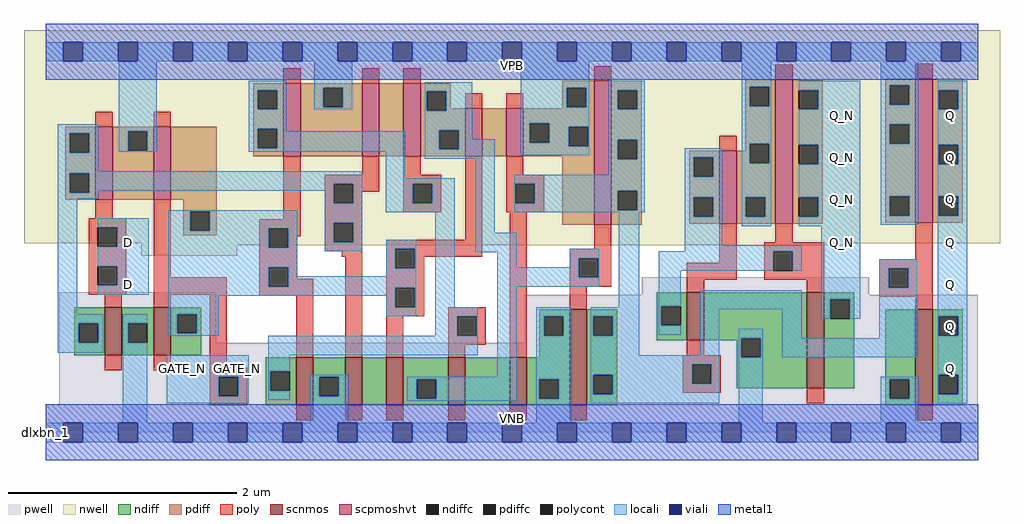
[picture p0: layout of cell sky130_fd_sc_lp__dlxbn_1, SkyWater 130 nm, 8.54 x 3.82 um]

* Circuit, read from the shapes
.subckt sky130_fd_sc_lp__dlxbn_1 D GATE_N VGND VNB VPB VPWR Q Q_N
XM1 VGND D n1 VNB sky130_fd_pr__nfet_01v8 w=0.42 l=0.15
XM2 n2 GATE_N VGND VNB sky130_fd_pr__nfet_01v8 w=0.42 l=0.15
XM3 VGND n2 n3 VNB sky130_fd_pr__nfet_01v8 w=0.42 l=0.15
XM4 n4 n1 VGND VNB sky130_fd_pr__nfet_01v8 w=0.42 l=0.15
XM5 n5 n2 n4 VNB sky130_fd_pr__nfet_01v8 w=0.42 l=0.15
XM6 n6 n3 n5 VNB sky130_fd_pr__nfet_01v8 w=0.42 l=0.15
XM7 VGND n7 n6 VNB sky130_fd_pr__nfet_01v8 w=0.42 l=0.15
XM8 n7 n5 VGND VNB sky130_fd_pr__nfet_01v8 w=0.84 l=0.15
XM9 VGND n7 n8 VNB sky130_fd_pr__nfet_01v8 w=0.42 l=0.15
XM10 Q_N n8 VGND VNB sky130_fd_pr__nfet_01v8 w=0.84 l=0.15
XM11 Q n7 VGND VNB sky130_fd_pr__nfet_01v8 w=0.84 l=0.15
XM12 VPWR D n1 VPB sky130_fd_pr__pfet_01v8_hvt w=0.64 l=0.15
XM13 n2 GATE_N VPWR VPB sky130_fd_pr__pfet_01v8_hvt w=0.64 l=0.15
XM14 VPWR n2 n3 VPB sky130_fd_pr__pfet_01v8_hvt w=0.64 l=0.15
XM15 n9 n1 VPWR VPB sky130_fd_pr__pfet_01v8_hvt w=0.64 l=0.15
XM16 n5 n3 n9 VPB sky130_fd_pr__pfet_01v8_hvt w=0.64 l=0.15
XM17 n10 n2 n5 VPB sky130_fd_pr__pfet_01v8_hvt w=0.42 l=0.15
XM18 VPWR n7 n10 VPB sky130_fd_pr__pfet_01v8_hvt w=0.42 l=0.15
XM19 n7 n5 VPWR VPB sky130_fd_pr__pfet_01v8_hvt w=1.26 l=0.15
XM20 VPWR n7 n8 VPB sky130_fd_pr__pfet_01v8_hvt w=0.64 l=0.15
XM21 Q_N n8 VPWR VPB sky130_fd_pr__pfet_01v8_hvt w=1.26 l=0.15
XM22 Q n7 VPWR VPB sky130_fd_pr__pfet_01v8_hvt w=1.26 l=0.15
.ends

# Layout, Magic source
magic
tech sky130A
magscale 1 2
<< nwell >>
rect -38 331 1670 704
rect 167 327 1396 331
rect 167 309 335 327
<< pwell >>
rect 24 157 298 245
rect 1043 241 1441 271
rect 838 157 1631 241
rect 24 49 1631 157
rect 0 0 1632 49
<< scnmos >>
rect 103 135 133 219
rect 189 135 219 219
rect 438 47 468 131
rect 524 47 554 131
rect 596 47 626 131
rect 704 47 734 131
rect 812 47 842 131
rect 917 47 947 215
rect 1122 161 1152 245
rect 1332 77 1362 245
rect 1522 47 1552 215
<< scpmoshvt >>
rect 87 407 117 535
rect 189 407 219 535
rect 416 483 446 611
rect 554 483 584 611
rect 626 483 656 611
rect 734 483 764 567
rect 806 483 836 567
rect 960 363 990 615
rect 1179 365 1209 493
rect 1277 365 1307 617
rect 1522 367 1552 619
<< ndiff >>
rect 50 191 103 219
rect 50 157 58 191
rect 92 157 103 191
rect 50 135 103 157
rect 133 191 189 219
rect 133 157 144 191
rect 178 157 189 191
rect 133 135 189 157
rect 219 207 272 219
rect 219 173 230 207
rect 264 173 272 207
rect 219 135 272 173
rect 1069 221 1122 245
rect 864 203 917 215
rect 864 169 872 203
rect 906 169 917 203
rect 864 131 917 169
rect 385 107 438 131
rect 385 73 393 107
rect 427 73 438 107
rect 385 47 438 73
rect 468 97 524 131
rect 468 63 479 97
rect 513 63 524 97
rect 468 47 524 63
rect 554 47 596 131
rect 626 93 704 131
rect 626 59 649 93
rect 683 59 704 93
rect 626 47 704 59
rect 734 47 812 131
rect 842 93 917 131
rect 842 59 864 93
rect 898 59 917 93
rect 842 47 917 59
rect 947 203 1000 215
rect 947 169 958 203
rect 992 169 1000 203
rect 947 101 1000 169
rect 1069 187 1077 221
rect 1111 187 1122 221
rect 1069 161 1122 187
rect 1152 165 1332 245
rect 1152 161 1217 165
rect 947 67 958 101
rect 992 67 1000 101
rect 1209 131 1217 161
rect 1251 131 1332 165
rect 1209 77 1332 131
rect 1362 233 1415 245
rect 1362 199 1373 233
rect 1407 199 1415 233
rect 1362 77 1415 199
rect 1469 93 1522 215
rect 947 47 1000 67
rect 1469 59 1477 93
rect 1511 59 1522 93
rect 1469 47 1522 59
rect 1552 203 1605 215
rect 1552 169 1563 203
rect 1597 169 1605 203
rect 1552 101 1605 169
rect 1552 67 1563 101
rect 1597 67 1605 101
rect 1552 47 1605 67
<< pdiff >>
rect 363 599 416 611
rect 363 565 371 599
rect 405 565 416 599
rect 34 523 87 535
rect 34 489 42 523
rect 76 489 87 523
rect 34 453 87 489
rect 34 419 42 453
rect 76 419 87 453
rect 34 407 87 419
rect 117 527 189 535
rect 117 493 144 527
rect 178 493 189 527
rect 117 407 189 493
rect 219 407 299 535
rect 363 531 416 565
rect 363 497 371 531
rect 405 497 416 531
rect 363 483 416 497
rect 446 603 554 611
rect 446 569 486 603
rect 520 569 554 603
rect 446 483 554 569
rect 584 483 626 611
rect 656 597 709 611
rect 656 563 667 597
rect 701 567 709 597
rect 904 603 960 615
rect 904 569 912 603
rect 946 569 960 603
rect 904 567 960 569
rect 701 563 734 567
rect 656 529 734 563
rect 656 495 689 529
rect 723 495 734 529
rect 656 483 734 495
rect 764 483 806 567
rect 836 541 960 567
rect 836 507 847 541
rect 881 535 960 541
rect 881 507 915 535
rect 836 501 915 507
rect 949 501 960 535
rect 836 483 960 501
rect 241 387 299 407
rect 241 353 253 387
rect 287 353 299 387
rect 241 345 299 353
rect 904 363 960 483
rect 990 599 1043 615
rect 990 565 1001 599
rect 1035 565 1043 599
rect 990 512 1043 565
rect 1224 605 1277 617
rect 1224 571 1232 605
rect 1266 571 1277 605
rect 990 478 1001 512
rect 1035 478 1043 512
rect 1224 505 1277 571
rect 1224 493 1232 505
rect 990 423 1043 478
rect 990 389 1001 423
rect 1035 389 1043 423
rect 990 363 1043 389
rect 1126 481 1179 493
rect 1126 447 1134 481
rect 1168 447 1179 481
rect 1126 411 1179 447
rect 1126 377 1134 411
rect 1168 377 1179 411
rect 1126 365 1179 377
rect 1209 471 1232 493
rect 1266 471 1277 505
rect 1209 411 1277 471
rect 1209 377 1225 411
rect 1259 377 1277 411
rect 1209 365 1277 377
rect 1307 599 1360 617
rect 1307 565 1318 599
rect 1352 565 1360 599
rect 1307 503 1360 565
rect 1307 469 1318 503
rect 1352 469 1360 503
rect 1307 411 1360 469
rect 1307 377 1318 411
rect 1352 377 1360 411
rect 1307 365 1360 377
rect 1469 607 1522 619
rect 1469 573 1477 607
rect 1511 573 1522 607
rect 1469 539 1522 573
rect 1469 505 1477 539
rect 1511 505 1522 539
rect 1469 413 1522 505
rect 1469 379 1477 413
rect 1511 379 1522 413
rect 1469 367 1522 379
rect 1552 599 1605 619
rect 1552 565 1563 599
rect 1597 565 1605 599
rect 1552 503 1605 565
rect 1552 469 1563 503
rect 1597 469 1605 503
rect 1552 413 1605 469
rect 1552 379 1563 413
rect 1597 379 1605 413
rect 1552 367 1605 379
<< ndiffc >>
rect 58 157 92 191
rect 144 157 178 191
rect 230 173 264 207
rect 872 169 906 203
rect 393 73 427 107
rect 479 63 513 97
rect 649 59 683 93
rect 864 59 898 93
rect 958 169 992 203
rect 1077 187 1111 221
rect 958 67 992 101
rect 1217 131 1251 165
rect 1373 199 1407 233
rect 1477 59 1511 93
rect 1563 169 1597 203
rect 1563 67 1597 101
<< pdiffc >>
rect 371 565 405 599
rect 42 489 76 523
rect 42 419 76 453
rect 144 493 178 527
rect 371 497 405 531
rect 486 569 520 603
rect 667 563 701 597
rect 912 569 946 603
rect 689 495 723 529
rect 847 507 881 541
rect 915 501 949 535
rect 253 353 287 387
rect 1001 565 1035 599
rect 1232 571 1266 605
rect 1001 478 1035 512
rect 1001 389 1035 423
rect 1134 447 1168 481
rect 1134 377 1168 411
rect 1232 471 1266 505
rect 1225 377 1259 411
rect 1318 565 1352 599
rect 1318 469 1352 503
rect 1318 377 1352 411
rect 1477 573 1511 607
rect 1477 505 1511 539
rect 1477 379 1511 413
rect 1563 565 1597 599
rect 1563 469 1597 503
rect 1563 379 1597 413
<< poly >>
rect 416 611 446 637
rect 554 611 584 637
rect 626 611 656 637
rect 960 615 990 641
rect 1277 617 1307 643
rect 1522 619 1552 645
rect 87 535 117 561
rect 189 535 219 561
rect 734 567 764 593
rect 806 567 836 593
rect 87 375 117 407
rect 75 359 141 375
rect 75 325 91 359
rect 125 325 141 359
rect 75 291 141 325
rect 75 257 91 291
rect 125 257 141 291
rect 75 241 141 257
rect 189 271 219 407
rect 416 373 446 483
rect 554 451 584 483
rect 374 357 446 373
rect 374 323 390 357
rect 424 343 446 357
rect 488 435 584 451
rect 488 401 504 435
rect 538 421 584 435
rect 626 451 656 483
rect 626 435 692 451
rect 538 401 554 421
rect 488 367 554 401
rect 626 401 642 435
rect 676 401 692 435
rect 626 385 692 401
rect 424 323 440 343
rect 374 289 440 323
rect 488 333 504 367
rect 538 333 554 367
rect 734 337 764 483
rect 806 451 836 483
rect 806 435 872 451
rect 806 401 822 435
rect 856 401 872 435
rect 806 385 872 401
rect 488 317 554 333
rect 518 307 554 317
rect 189 241 317 271
rect 103 219 133 241
rect 189 219 219 241
rect 103 109 133 135
rect 189 109 219 135
rect 287 113 317 241
rect 374 255 390 289
rect 424 269 440 289
rect 424 255 468 269
rect 374 239 468 255
rect 438 131 468 239
rect 524 131 554 307
rect 596 321 764 337
rect 596 287 612 321
rect 646 307 764 321
rect 646 287 662 307
rect 596 253 662 287
rect 596 219 612 253
rect 646 219 662 253
rect 596 203 662 219
rect 704 203 770 219
rect 596 131 626 203
rect 704 169 720 203
rect 754 169 770 203
rect 704 153 770 169
rect 704 131 734 153
rect 812 131 842 385
rect 1179 493 1209 519
rect 960 321 990 363
rect 917 305 990 321
rect 917 271 933 305
rect 967 271 990 305
rect 1179 297 1209 365
rect 1277 333 1307 365
rect 917 255 990 271
rect 1122 267 1209 297
rect 1257 317 1362 333
rect 1257 283 1273 317
rect 1307 283 1362 317
rect 1522 303 1552 367
rect 1257 267 1362 283
rect 917 215 947 255
rect 1122 245 1152 267
rect 1332 245 1362 267
rect 1459 287 1552 303
rect 1459 253 1475 287
rect 1509 253 1552 287
rect 287 97 353 113
rect 287 63 303 97
rect 337 63 353 97
rect 287 47 353 63
rect 1122 135 1152 161
rect 1115 119 1181 135
rect 1115 85 1131 119
rect 1165 85 1181 119
rect 1115 69 1181 85
rect 1459 237 1552 253
rect 1522 215 1552 237
rect 1332 51 1362 77
rect 438 21 468 47
rect 524 21 554 47
rect 596 21 626 47
rect 704 21 734 47
rect 812 21 842 47
rect 917 21 947 47
rect 1522 21 1552 47
<< polycont >>
rect 91 325 125 359
rect 91 257 125 291
rect 390 323 424 357
rect 504 401 538 435
rect 642 401 676 435
rect 504 333 538 367
rect 822 401 856 435
rect 390 255 424 289
rect 612 287 646 321
rect 612 219 646 253
rect 720 169 754 203
rect 933 271 967 305
rect 1273 283 1307 317
rect 1475 253 1509 287
rect 303 63 337 97
rect 1131 85 1165 119
<< locali >>
rect 0 649 31 683
rect 65 649 127 683
rect 161 649 223 683
rect 257 649 319 683
rect 353 649 415 683
rect 449 649 511 683
rect 545 649 607 683
rect 641 649 703 683
rect 737 649 799 683
rect 833 649 895 683
rect 929 649 991 683
rect 1025 649 1087 683
rect 1121 649 1183 683
rect 1217 649 1279 683
rect 1313 649 1375 683
rect 1409 649 1471 683
rect 1505 649 1567 683
rect 1601 649 1632 683
rect 21 523 92 539
rect 21 489 42 523
rect 76 489 92 523
rect 128 527 194 649
rect 128 493 144 527
rect 178 493 194 527
rect 128 491 194 493
rect 355 599 421 615
rect 355 565 371 599
rect 405 565 421 599
rect 470 603 536 649
rect 470 569 486 603
rect 520 569 536 603
rect 470 565 536 569
rect 663 597 746 613
rect 355 531 421 565
rect 355 497 371 531
rect 405 527 421 531
rect 663 563 667 597
rect 701 563 746 597
rect 663 529 746 563
rect 405 497 629 527
rect 355 491 629 497
rect 21 457 92 489
rect 21 453 554 457
rect 21 419 42 453
rect 76 435 554 453
rect 76 423 504 435
rect 76 419 92 423
rect 21 409 92 419
rect 21 207 55 409
rect 488 401 504 423
rect 538 401 554 435
rect 214 387 440 389
rect 91 359 180 375
rect 125 325 180 359
rect 91 291 180 325
rect 125 257 180 291
rect 91 241 180 257
rect 214 353 253 387
rect 287 357 440 387
rect 287 353 390 357
rect 214 323 390 353
rect 424 323 440 357
rect 214 289 440 323
rect 488 367 554 401
rect 595 445 629 491
rect 663 495 689 529
rect 723 513 746 529
rect 831 603 951 649
rect 831 569 912 603
rect 946 569 951 603
rect 831 541 951 569
rect 723 495 786 513
rect 663 479 786 495
rect 831 507 847 541
rect 881 535 951 541
rect 881 507 915 535
rect 831 501 915 507
rect 949 501 951 535
rect 831 485 951 501
rect 985 599 1048 615
rect 985 565 1001 599
rect 1035 565 1048 599
rect 985 512 1048 565
rect 595 435 716 445
rect 595 401 642 435
rect 676 401 716 435
rect 595 385 716 401
rect 488 333 504 367
rect 538 333 554 367
rect 488 317 554 333
rect 596 321 648 337
rect 214 255 390 289
rect 424 273 440 289
rect 596 287 612 321
rect 646 287 648 321
rect 596 273 648 287
rect 424 255 648 273
rect 214 253 648 255
rect 214 239 612 253
rect 214 207 303 239
rect 21 191 101 207
rect 21 157 58 191
rect 92 157 101 191
rect 21 139 101 157
rect 135 191 178 207
rect 135 157 144 191
rect 214 173 230 207
rect 264 173 303 207
rect 596 219 612 239
rect 646 219 648 253
rect 596 203 648 219
rect 682 219 716 385
rect 752 349 786 479
rect 985 478 1001 512
rect 1035 478 1048 512
rect 1218 605 1270 649
rect 1218 571 1232 605
rect 1266 571 1270 605
rect 1218 505 1270 571
rect 985 451 1048 478
rect 820 435 1048 451
rect 820 401 822 435
rect 856 423 1048 435
rect 856 401 1001 423
rect 820 389 1001 401
rect 1035 389 1048 423
rect 820 385 1048 389
rect 1118 481 1184 497
rect 1118 447 1134 481
rect 1168 447 1184 481
rect 1118 411 1184 447
rect 752 315 824 349
rect 790 289 824 315
rect 917 305 969 321
rect 917 289 933 305
rect 790 271 933 289
rect 967 271 969 305
rect 790 255 969 271
rect 682 203 756 219
rect 214 169 303 173
rect 682 169 720 203
rect 754 169 756 203
rect 135 17 178 157
rect 389 135 756 169
rect 212 97 355 135
rect 212 63 303 97
rect 337 63 355 97
rect 212 51 355 63
rect 389 107 427 135
rect 389 73 393 107
rect 389 57 427 73
rect 463 97 529 101
rect 790 97 824 255
rect 1003 219 1039 385
rect 1118 377 1134 411
rect 1168 377 1184 411
rect 1118 327 1184 377
rect 1218 471 1232 505
rect 1266 471 1270 505
rect 1218 411 1270 471
rect 1218 377 1225 411
rect 1259 377 1270 411
rect 1218 361 1270 377
rect 1318 599 1425 615
rect 1352 565 1425 599
rect 1318 503 1425 565
rect 1352 469 1425 503
rect 1318 411 1425 469
rect 1352 377 1425 411
rect 1318 361 1425 377
rect 1461 607 1527 649
rect 1461 573 1477 607
rect 1511 573 1527 607
rect 1461 539 1527 573
rect 1461 505 1477 539
rect 1511 505 1527 539
rect 1461 413 1527 505
rect 1461 379 1477 413
rect 1511 379 1527 413
rect 1461 363 1527 379
rect 1561 599 1613 615
rect 1561 565 1563 599
rect 1597 565 1613 599
rect 1561 503 1613 565
rect 1561 469 1563 503
rect 1597 469 1613 503
rect 1561 413 1613 469
rect 1561 379 1563 413
rect 1597 379 1613 413
rect 1118 317 1323 327
rect 463 63 479 97
rect 513 63 529 97
rect 463 17 529 63
rect 633 93 824 97
rect 633 59 649 93
rect 683 59 824 93
rect 633 55 824 59
rect 858 203 920 219
rect 858 169 872 203
rect 906 169 920 203
rect 858 93 920 169
rect 858 59 864 93
rect 898 59 920 93
rect 858 17 920 59
rect 954 203 1039 219
rect 954 169 958 203
rect 992 169 1039 203
rect 1073 283 1273 317
rect 1307 283 1323 317
rect 1073 221 1111 283
rect 1073 187 1077 221
rect 1073 171 1111 187
rect 1145 215 1323 249
rect 954 135 1039 169
rect 1145 135 1179 215
rect 954 119 1179 135
rect 954 101 1131 119
rect 954 67 958 101
rect 992 85 1131 101
rect 1165 85 1179 119
rect 992 67 1179 85
rect 954 51 1179 67
rect 1213 165 1255 181
rect 1213 131 1217 165
rect 1251 131 1255 165
rect 1289 165 1323 215
rect 1357 233 1425 361
rect 1357 199 1373 233
rect 1407 199 1425 233
rect 1459 287 1525 303
rect 1459 253 1475 287
rect 1509 253 1525 287
rect 1459 165 1525 253
rect 1289 131 1525 165
rect 1561 203 1613 379
rect 1561 169 1563 203
rect 1597 169 1613 203
rect 1213 17 1255 131
rect 1561 101 1613 169
rect 1461 93 1527 97
rect 1461 59 1477 93
rect 1511 59 1527 93
rect 1461 17 1527 59
rect 1561 67 1563 101
rect 1597 67 1613 101
rect 1561 51 1613 67
rect 0 -17 31 17
rect 65 -17 127 17
rect 161 -17 223 17
rect 257 -17 319 17
rect 353 -17 415 17
rect 449 -17 511 17
rect 545 -17 607 17
rect 641 -17 703 17
rect 737 -17 799 17
rect 833 -17 895 17
rect 929 -17 991 17
rect 1025 -17 1087 17
rect 1121 -17 1183 17
rect 1217 -17 1279 17
rect 1313 -17 1375 17
rect 1409 -17 1471 17
rect 1505 -17 1567 17
rect 1601 -17 1632 17
<< viali >>
rect 31 649 65 683
rect 127 649 161 683
rect 223 649 257 683
rect 319 649 353 683
rect 415 649 449 683
rect 511 649 545 683
rect 607 649 641 683
rect 703 649 737 683
rect 799 649 833 683
rect 895 649 929 683
rect 991 649 1025 683
rect 1087 649 1121 683
rect 1183 649 1217 683
rect 1279 649 1313 683
rect 1375 649 1409 683
rect 1471 649 1505 683
rect 1567 649 1601 683
rect 31 -17 65 17
rect 127 -17 161 17
rect 223 -17 257 17
rect 319 -17 353 17
rect 415 -17 449 17
rect 511 -17 545 17
rect 607 -17 641 17
rect 703 -17 737 17
rect 799 -17 833 17
rect 895 -17 929 17
rect 991 -17 1025 17
rect 1087 -17 1121 17
rect 1183 -17 1217 17
rect 1279 -17 1313 17
rect 1375 -17 1409 17
rect 1471 -17 1505 17
rect 1567 -17 1601 17
<< metal1 >>
rect 0 683 1632 715
rect 0 649 31 683
rect 65 649 127 683
rect 161 649 223 683
rect 257 649 319 683
rect 353 649 415 683
rect 449 649 511 683
rect 545 649 607 683
rect 641 649 703 683
rect 737 649 799 683
rect 833 649 895 683
rect 929 649 991 683
rect 1025 649 1087 683
rect 1121 649 1183 683
rect 1217 649 1279 683
rect 1313 649 1375 683
rect 1409 649 1471 683
rect 1505 649 1567 683
rect 1601 649 1632 683
rect 0 617 1632 649
rect 0 17 1632 49
rect 0 -17 31 17
rect 65 -17 127 17
rect 161 -17 223 17
rect 257 -17 319 17
rect 353 -17 415 17
rect 449 -17 511 17
rect 545 -17 607 17
rect 641 -17 703 17
rect 737 -17 799 17
rect 833 -17 895 17
rect 929 -17 991 17
rect 1025 -17 1087 17
rect 1121 -17 1183 17
rect 1217 -17 1279 17
rect 1313 -17 1375 17
rect 1409 -17 1471 17
rect 1505 -17 1567 17
rect 1601 -17 1632 17
rect 0 -49 1632 -17
<< labels >>
flabel pwell s 0 0 1632 49 0 FreeSans 200 0 0 0 VNB
port 4 nsew ground bidirectional
flabel nwell s 0 617 1632 666 0 FreeSans 200 0 0 0 VPB
port 5 nsew power bidirectional
rlabel comment s 0 0 0 0 4 dlxbn_1
flabel metal1 s 0 617 1632 666 0 FreeSans 340 0 0 0 VPWR
port 6 nsew power bidirectional
flabel metal1 s 0 0 1632 49 0 FreeSans 340 0 0 0 VGND
port 3 nsew ground bidirectional
flabel locali s 127 242 161 276 0 FreeSans 340 0 0 0 D
port 1 nsew signal input
flabel locali s 127 316 161 350 0 FreeSans 340 0 0 0 D
port 1 nsew signal input
flabel locali s 223 94 257 128 0 FreeSans 340 0 0 0 GATE_N
port 2 nsew clock input
flabel locali s 319 94 353 128 0 FreeSans 340 0 0 0 GATE_N
port 2 nsew clock input
flabel locali s 1567 94 1601 128 0 FreeSans 340 0 0 0 Q
port 7 nsew signal output
flabel locali s 1567 168 1601 202 0 FreeSans 340 0 0 0 Q
port 7 nsew signal output
flabel locali s 1567 242 1601 276 0 FreeSans 340 0 0 0 Q
port 7 nsew signal output
flabel locali s 1567 316 1601 350 0 FreeSans 340 0 0 0 Q
port 7 nsew signal output
flabel locali s 1567 390 1601 424 0 FreeSans 340 0 0 0 Q
port 7 nsew signal output
flabel locali s 1567 464 1601 498 0 FreeSans 340 0 0 0 Q
port 7 nsew signal output
flabel locali s 1567 538 1601 572 0 FreeSans 340 0 0 0 Q
port 7 nsew signal output
flabel locali s 1375 316 1409 350 0 FreeSans 340 0 0 0 Q_N
port 8 nsew signal output
flabel locali s 1375 390 1409 424 0 FreeSans 340 0 0 0 Q_N
port 8 nsew signal output
flabel locali s 1375 464 1409 498 0 FreeSans 340 0 0 0 Q_N
port 8 nsew signal output
flabel locali s 1375 538 1409 572 0 FreeSans 340 0 0 0 Q_N
port 8 nsew signal output
<< properties >>
string LEFsite unit
string LEFclass CORE
string FIXED_BBOX 0 0 1632 666
string GDS_FILE $PDKPATH/libs.ref/sky130_fd_sc_lp/gds/sky130_fd_sc_lp.gds
string LEFsymmetry X Y R90
string GDS_END 5939342
string GDS_START 5925726
<< end >>
